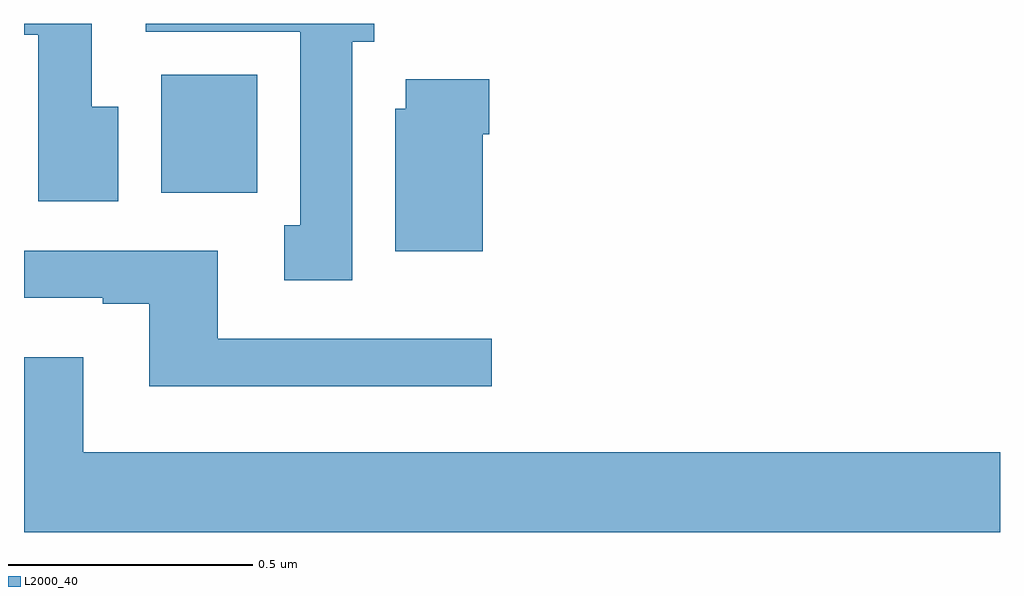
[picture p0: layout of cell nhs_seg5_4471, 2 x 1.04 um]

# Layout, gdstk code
import gdstk
lib = gdstk.Library(unit=1e-6, precision=1e-09)
def R(c, l, rs):  # rectangles x0, y0, x1, y1
    for r in rs: c.add(gdstk.rectangle(r[:2], r[2:], *l))
def P(c, l, *ps):  # polygons
    for p in ps: c.add(gdstk.Polygon(p, *l))
L2000_40 = (2000, 40)

nhs_seg5_4471 = lib.new_cell('nhs_seg5_4471')
R(nhs_seg5_4471, L2000_40, [(171.281,861.452,171.478,861.694)])
P(nhs_seg5_4471, L2000_40, [(171.673,861.762),(171.718,861.762),(171.718,861.799),(171.249,861.799),(171.249,861.782),(171.566,861.782),(171.566,861.386),(171.533,861.386),(171.533,861.273),(171.673,861.273)],
  [(171.193,861.628),(171.139,861.628),(171.139,861.799),(171,861.799),(171,861.776),(171.029,861.776),(171.029,861.435),(171.193,861.435)],
  [(171.94,861.572),(171.953,861.572),(171.953,861.685),(171.782,861.685),(171.782,861.624),(171.761,861.624),(171.761,861.332),(171.94,861.332)],
  [(171.958,861.153),(171.397,861.153),(171.397,861.333),(171,861.333),(171,861.237),(171.161,861.237),(171.161,861.225),(171.257,861.225),(171.257,861.056),(171.958,861.056)],
  [(173,860.92),(171.121,860.92),(171.121,861.115),(171,861.115),(171,860.756),(173,860.756)])

lib.write_gds('nhs_seg5_4471.gds')
